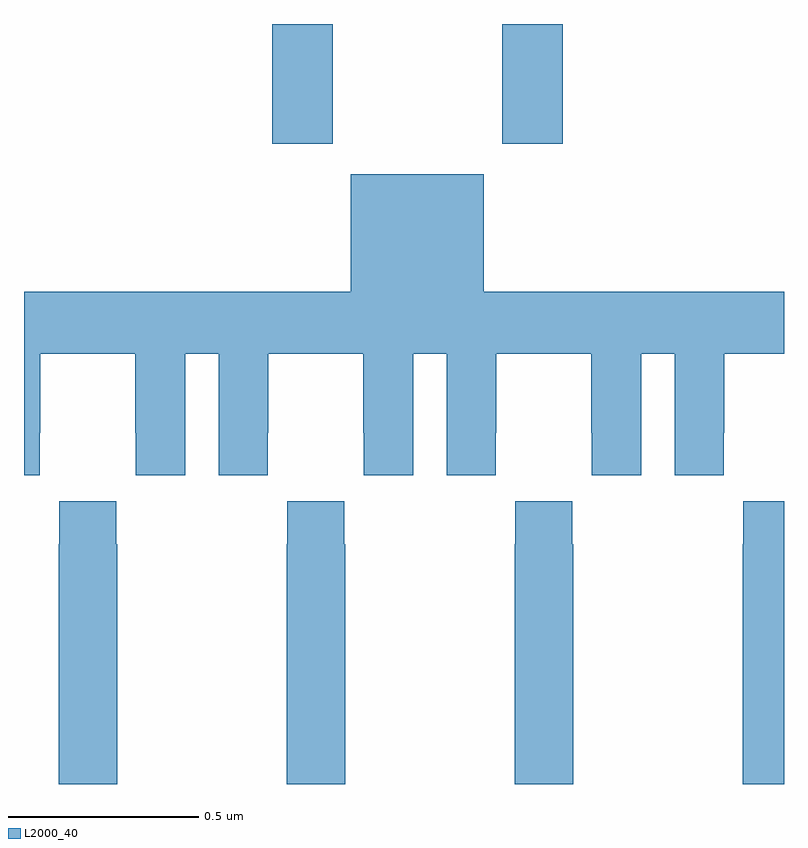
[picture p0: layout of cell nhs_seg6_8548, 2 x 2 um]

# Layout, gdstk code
import gdstk
lib = gdstk.Library(unit=1e-6, precision=1e-09)
def R(c, l, rs):  # rectangles x0, y0, x1, y1
    for r in rs: c.add(gdstk.rectangle(r[:2], r[2:], *l))
def P(c, l, *ps):  # polygons
    for p in ps: c.add(gdstk.Polygon(p, *l))
L2000_40 = (2000, 40)

nhs_seg6_8548 = lib.new_cell('nhs_seg6_8548')
R(nhs_seg6_8548, L2000_40, [(222.653,985.185,222.813,985.5), (223.258,985.185,223.418,985.5)])
P(nhs_seg6_8548, L2000_40, [(222,984.312),(222.042,984.312),(222.042,984.424),(222.043,984.424),(222.043,984.632),(222.293,984.632),(222.293,984.424),(222.294,984.424),(222.294,984.312),(222.424,984.312),(222.424,984.632),(222.512,984.632),(222.512,984.312),(222.642,984.312),(222.642,984.424),(222.643,984.424),(222.643,984.632),(222.893,984.632),(222.893,984.424),(222.894,984.424),(222.894,984.312),(223.024,984.312),(223.024,984.632),(223.112,984.632),(223.112,984.312),(223.242,984.312),(223.242,984.424),(223.243,984.424),(223.243,984.632),(223.493,984.632),(223.493,984.424),(223.494,984.424),(223.494,984.312),(223.624,984.312),(223.624,984.632),(223.712,984.632),(223.712,984.312),(223.842,984.312),(223.842,984.424),(223.843,984.424),(223.843,984.632),(224,984.632),(224,984.796),(223.21,984.796),(223.21,985.105),(222.86,985.105),(222.86,984.796),(222,984.796)],
  [(224,984.244),(223.893,984.244),(223.893,984.131),(223.891,984.131),(223.891,983.5),(224,983.5)],
  [(223.446,984.131),(223.443,984.131),(223.443,984.244),(223.293,984.244),(223.293,984.131),(223.291,984.131),(223.291,983.5),(223.446,983.5)],
  [(222.846,984.131),(222.843,984.131),(222.843,984.244),(222.693,984.244),(222.693,984.131),(222.691,984.131),(222.691,983.5),(222.846,983.5)],
  [(222.246,984.131),(222.243,984.131),(222.243,984.244),(222.093,984.244),(222.093,984.131),(222.091,984.131),(222.091,983.5),(222.246,983.5)])

lib.write_gds('nhs_seg6_8548.gds')
